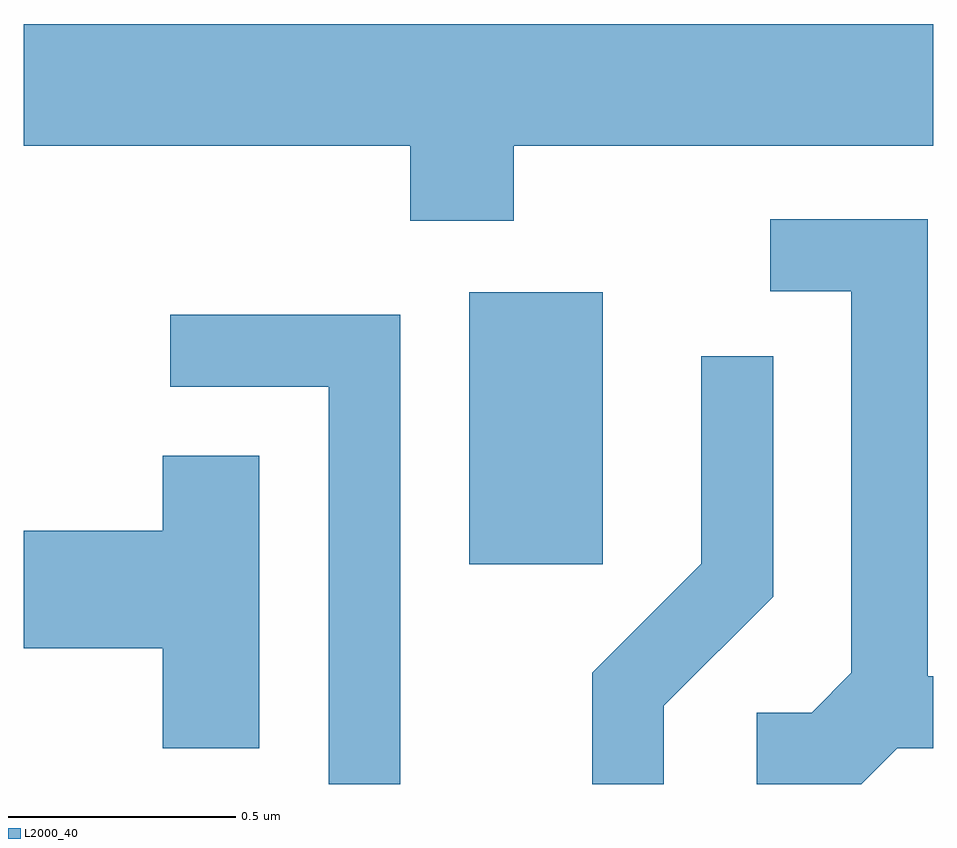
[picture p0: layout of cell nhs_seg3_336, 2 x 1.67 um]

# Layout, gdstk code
import gdstk
lib = gdstk.Library(unit=1e-6, precision=1e-09)
def R(c, l, rs):  # rectangles x0, y0, x1, y1
    for r in rs: c.add(gdstk.rectangle(r[:2], r[2:], *l))
def P(c, l, *ps):  # polygons
    for p in ps: c.add(gdstk.Polygon(p, *l))
L2000_40 = (2000, 40)

nhs_seg3_336 = lib.new_cell('nhs_seg3_336')
R(nhs_seg3_336, L2000_40, [(188.591,1178.376,188.884,1178.974)])
P(nhs_seg3_336, L2000_40, [(188.689,1179.296),(189.611,1179.296),(189.611,1179.564),(187.611,1179.564),(187.611,1179.296),(188.461,1179.296),(188.461,1179.131),(188.689,1179.131)],
  [(189.532,1177.971),(189.611,1177.971),(189.611,1178.129),(189.599,1178.129),(189.599,1179.134),(189.253,1179.134),(189.253,1178.976),(189.431,1178.976),(189.431,1178.137),(189.344,1178.049),(189.223,1178.049),(189.223,1177.892),(189.453,1177.892)],
  [(188.439,1178.924),(187.933,1178.924),(187.933,1178.766),(188.281,1178.766),(188.281,1177.892),(188.439,1177.892)],
  [(189.019,1178.064),(189.259,1178.304),(189.259,1178.833),(189.101,1178.833),(189.101,1178.377),(188.861,1178.137),(188.861,1177.892),(189.019,1177.892)],
  [(188.129,1178.614),(187.916,1178.614),(187.916,1178.449),(187.611,1178.449),(187.611,1178.191),(187.916,1178.191),(187.916,1177.971),(188.129,1177.971)])

lib.write_gds('nhs_seg3_336.gds')
